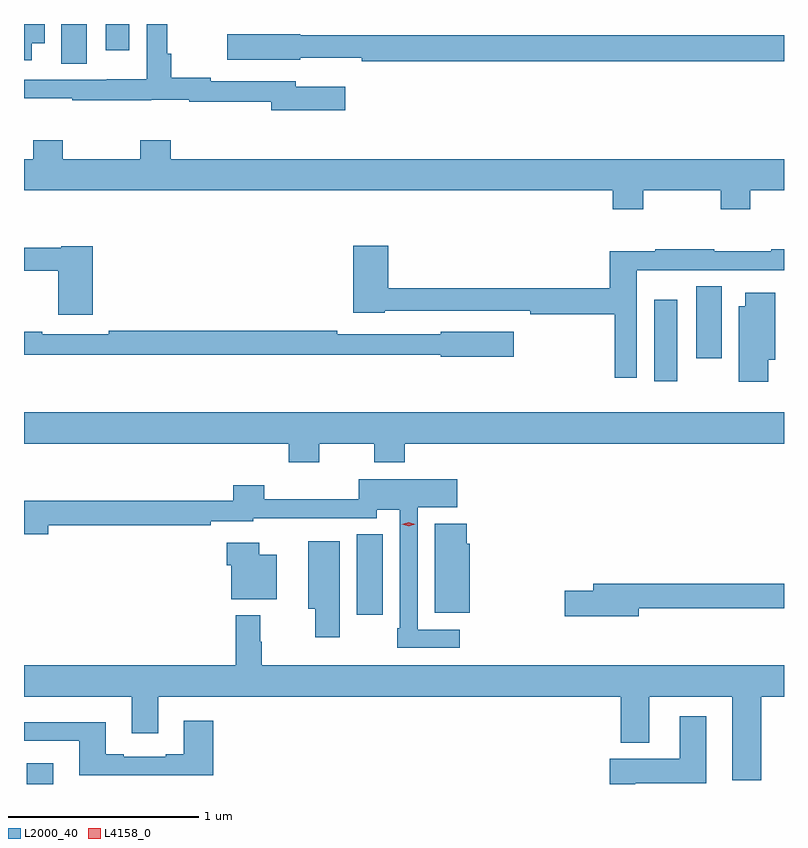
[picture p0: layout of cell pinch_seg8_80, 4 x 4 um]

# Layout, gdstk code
import gdstk
lib = gdstk.Library(unit=1e-6, precision=1e-09)
def R(c, l, rs):  # rectangles x0, y0, x1, y1
    for r in rs: c.add(gdstk.rectangle(r[:2], r[2:], *l))
def P(c, l, *ps):  # polygons
    for p in ps: c.add(gdstk.Polygon(p, *l))
L2000_40 = (2000, 40)
L4158_0 = (4158, 0)

pinch_seg8_80 = lib.new_cell('pinch_seg8_80')
R(pinch_seg8_80, L2000_40, [(1010.321,1100.056,1010.461,1100.164), (1012.058,1100.946,1012.195,1101.371), (1013.624,1102.176,1013.746,1102.606), (1013.846,1102.296,1013.98,1102.676), (1010.504,1103.848,1010.638,1104.056), (1010.738,1103.919,1010.86,1104.056)])
P(pinch_seg8_80, L2000_40, [(1010.347,1103.954),(1010.416,1103.954),(1010.416,1104.056),(1010.307,1104.056),(1010.307,1103.865),(1010.347,1103.865)],
  [(1011.997,1103.725),(1011.736,1103.725),(1011.736,1103.754),(1011.29,1103.754),(1011.29,1103.774),(1011.082,1103.774),(1011.082,1103.899),(1011.061,1103.899),(1011.061,1104.056),(1010.952,1104.056),(1010.952,1103.764),(1010.742,1103.764),(1010.742,1103.763),(1010.307,1103.763),(1010.307,1103.665),(1010.561,1103.665),(1010.561,1103.655),(1010.976,1103.655),(1010.976,1103.657),(1011.178,1103.657),(1011.178,1103.646),(1011.608,1103.646),(1011.608,1103.603),(1011.997,1103.603)],
  [(1014.307,1103.996),(1011.762,1103.996),(1011.762,1104.002),(1011.378,1104.002),(1011.378,1103.867),(1011.762,1103.867),(1011.762,1103.879),(1012.084,1103.879),(1012.084,1103.86),(1014.307,1103.86)],
  [(1013.565,1103.18),(1013.974,1103.18),(1013.974,1103.081),(1014.129,1103.081),(1014.129,1103.18),(1014.307,1103.18),(1014.307,1103.344),(1011.08,1103.344),(1011.08,1103.443),(1010.92,1103.443),(1010.92,1103.344),(1010.511,1103.344),(1010.511,1103.443),(1010.356,1103.443),(1010.356,1103.344),(1010.307,1103.344),(1010.307,1103.18),(1013.405,1103.18),(1013.405,1103.081),(1013.565,1103.081)],
  [(1013.532,1102.76),(1013.742,1102.76),(1013.742,1102.761),(1014.307,1102.761),(1014.307,1102.87),(1014.239,1102.87),(1014.239,1102.86),(1013.939,1102.86),(1013.939,1102.87),(1013.629,1102.87),(1013.629,1102.86),(1013.39,1102.86),(1013.39,1102.664),(1012.223,1102.664),(1012.223,1102.888),(1012.04,1102.888),(1012.04,1102.535),(1012.206,1102.535),(1012.206,1102.548),(1012.972,1102.548),(1012.972,1102.528),(1013.416,1102.528),(1013.416,1102.194),(1013.532,1102.194)],
  [(1010.669,1102.887),(1010.502,1102.887),(1010.502,1102.879),(1010.307,1102.879),(1010.307,1102.758),(1010.486,1102.758),(1010.486,1102.527),(1010.669,1102.527)],
  [(1014.223,1102.289),(1014.262,1102.289),(1014.262,1102.642),(1014.104,1102.642),(1014.104,1102.57),(1014.068,1102.57),(1014.068,1102.173),(1014.223,1102.173)],
  [(1012.885,1102.435),(1012.5,1102.435),(1012.5,1102.422),(1011.956,1102.422),(1011.956,1102.442),(1010.752,1102.442),(1010.752,1102.422),(1010.402,1102.422),(1010.402,1102.435),(1010.307,1102.435),(1010.307,1102.314),(1012.5,1102.314),(1012.5,1102.306),(1012.885,1102.306)],
  [(1011.861,1101.848),(1012.15,1101.848),(1012.15,1101.749),(1012.31,1101.749),(1012.31,1101.848),(1014.307,1101.848),(1014.307,1102.012),(1010.307,1102.012),(1010.307,1101.848),(1011.701,1101.848),(1011.701,1101.749),(1011.861,1101.749)],
  [(1012.6,1100.868),(1012.38,1100.868),(1012.38,1101.512),(1012.588,1101.512),(1012.588,1101.661),(1012.068,1101.661),(1012.068,1101.554),(1011.572,1101.554),(1011.572,1101.628),(1011.407,1101.628),(1011.407,1101.547),(1010.307,1101.547),(1010.307,1101.371),(1010.434,1101.371),(1010.434,1101.418),(1011.29,1101.418),(1011.29,1101.438),(1011.513,1101.438),(1011.513,1101.455),(1011.752,1101.455),(1011.752,1101.456),(1012.164,1101.456),(1012.164,1101.5),(1012.284,1101.5),(1012.284,1100.875),(1012.272,1100.875),(1012.272,1100.772),(1012.6,1100.772)],
  [(1012.654,1101.321),(1012.636,1101.321),(1012.636,1101.427),(1012.469,1101.427),(1012.469,1100.957),(1012.654,1100.957)],
  [(1011.97,1101.334),(1011.803,1101.334),(1011.803,1100.978),(1011.841,1100.978),(1011.841,1100.829),(1011.97,1100.829)],
  [(1011.637,1101.262),(1011.544,1101.262),(1011.544,1101.325),(1011.374,1101.325),(1011.374,1101.207),(1011.398,1101.207),(1011.398,1101.029),(1011.637,1101.029)],
  [(1013.542,1100.982),(1014.307,1100.982),(1014.307,1101.11),(1013.303,1101.11),(1013.303,1101.074),(1013.154,1101.074),(1013.154,1100.939),(1013.542,1100.939)],
  [(1014.188,1100.516),(1014.307,1100.516),(1014.307,1100.68),(1011.557,1100.68),(1011.557,1100.804),(1011.55,1100.804),(1011.55,1100.944),(1011.421,1100.944),(1011.421,1100.68),(1010.307,1100.68),(1010.307,1100.516),(1010.873,1100.516),(1010.873,1100.322),(1011.013,1100.322),(1011.013,1100.516),(1013.447,1100.516),(1013.447,1100.273),(1013.599,1100.273),(1013.599,1100.516),(1014.035,1100.516),(1014.035,1100.075),(1014.188,1100.075)],
  [(1013.524,1100.06),(1013.899,1100.06),(1013.899,1100.413),(1013.759,1100.413),(1013.759,1100.188),(1013.39,1100.188),(1013.39,1100.056),(1013.524,1100.056)],
  [(1011.302,1100.389),(1011.149,1100.389),(1011.149,1100.212),(1011.053,1100.212),(1011.053,1100.199),(1010.833,1100.199),(1010.833,1100.212),(1010.737,1100.212),(1010.737,1100.38),(1010.307,1100.38),(1010.307,1100.283),(1010.597,1100.283),(1010.597,1100.102),(1011.302,1100.102)])
P(pinch_seg8_80, L4158_0, [(1012.331,1101.413),(1012.296,1101.422),(1012.296,1101.422),(1012.296,1101.422),(1012.331,1101.433),(1012.366,1101.424),(1012.366,1101.424),(1012.366,1101.423)])

lib.write_gds('pinch_seg8_80.gds')
